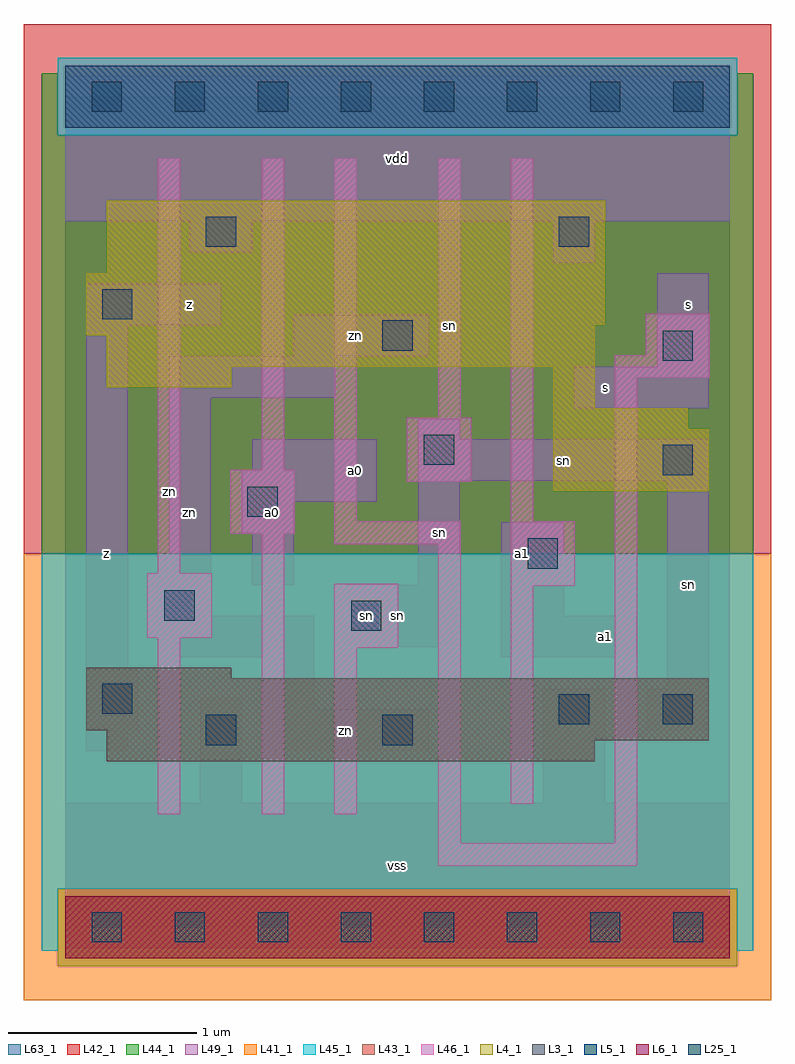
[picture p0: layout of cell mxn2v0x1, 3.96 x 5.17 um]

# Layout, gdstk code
import gdstk
lib = gdstk.Library(unit=1e-6, precision=1e-09)
def R(c, l, rs):  # rectangles x0, y0, x1, y1
    for r in rs: c.add(gdstk.rectangle(r[:2], r[2:], *l))
def A(c, l, x, y, w, h, nx, ny, dx, dy):  # array of equal rectangles
    R(c, l, [(x+i*dx, y+j*dy, x+i*dx+w, y+j*dy+h) for i in range(nx) for j in range(ny)])
L3_1 = (3, 1)
L4_1 = (4, 1)
L5_1 = (5, 1)
L6_1 = (6, 1)
L25_1 = (25, 1)
L41_1 = (41, 1)
L42_1 = (42, 1)
L43_1 = (43, 1)
L44_1 = (44, 1)
L45_1 = (45, 1)
L46_1 = (46, 1)
L49_1 = (49, 1)
L63_1 = (63, 1)

mxn2v0x1 = lib.new_cell('mxn2v0x1')
R(mxn2v0x1, L3_1, [(0.22,0.88,2.805,0.99), (0.22,0.99,3.41,1.045), (0.11,1.045,3.41,1.32), (0.11,1.32,0.88,1.375)])
R(mxn2v0x1, L4_1, [(2.585,2.31,3.41,2.64), (2.585,2.64,3.3,2.75), (2.585,2.75,2.805,2.97), (0.22,2.86,0.88,2.97), (0.22,2.97,2.805,3.135), (0.11,3.135,2.805,3.19), (0.11,3.19,2.86,3.465), (0.22,3.465,2.86,3.85)])
R(mxn2v0x1, L5_1, [(0,4.235,3.52,4.565)])
R(mxn2v0x1, L6_1, [(0,-0.165,3.52,0.165)])
A(mxn2v0x1, L25_1, 0.14, -0.08, 0.16, 0.16, 8, 2, 0.44, 4.4)
R(mxn2v0x1, L25_1, [(0.745,0.965,0.905,1.125), (1.68,0.965,1.84,1.125), (2.615,1.075,2.775,1.235), (3.165,1.075,3.325,1.235), (0.195,1.13,0.355,1.29), (1.515,1.57,1.675,1.73), (0.525,1.625,0.685,1.785), (2.45,1.9,2.61,2.06), (0.965,2.175,1.125,2.335), (3.165,2.395,3.325,2.555), (1.9,2.45,2.06,2.61), (3.165,3,3.325,3.16), (1.68,3.055,1.84,3.215), (0.195,3.22,0.355,3.38), (0.745,3.605,0.905,3.765), (2.615,3.605,2.775,3.765)])
R(mxn2v0x1, L41_1, [(-0.22,-0.385,3.74,1.98)])
R(mxn2v0x1, L42_1, [(-0.22,1.98,3.74,4.785)])
R(mxn2v0x1, L43_1, [(0,-0.165,3.52,0.165), (0.22,0.88,2.805,0.99), (0.22,0.99,3.41,1.045), (0.11,1.045,3.41,1.32), (0.11,1.32,0.88,1.375), (2.585,2.31,3.41,2.64), (2.585,2.64,3.3,2.75), (2.585,2.75,2.805,2.97), (0.22,2.86,0.88,2.97), (0.22,2.97,2.805,3.135), (0.11,3.135,2.805,3.19), (0.11,3.19,2.86,3.465), (0.22,3.465,2.86,3.85), (0,4.235,3.52,4.565)])
R(mxn2v0x1, L44_1, [(-0.04,-0.205,3.56,0.205), (-0.125,1.98,3.645,4.195), (-0.125,4.195,-0.04,4.525), (3.56,4.195,3.645,4.525)])
R(mxn2v0x1, L45_1, [(-0.125,-0.125,-0.04,0.205), (3.56,-0.125,3.645,0.205), (-0.125,0.205,3.645,1.98), (-0.04,4.195,3.56,4.605)])
R(mxn2v0x1, L46_1, [(1.975,0.325,3.03,0.445), (1.975,0.445,2.095,2.03), (2.91,0.445,3.03,2.91), (0.49,0.6,0.61,1.535), (1.04,0.6,1.16,2.085), (1.425,0.6,1.545,1.48), (2.36,0.655,2.48,1.81), (1.425,1.48,1.765,1.82), (0.435,1.535,0.775,1.875), (2.36,1.81,2.7,2.15), (0.49,1.875,0.61,4.075), (1.425,2.03,2.095,2.15), (0.875,2.085,1.215,2.425), (1.425,2.15,1.545,4.075), (2.36,2.15,2.48,4.075), (1.81,2.36,2.15,2.7), (1.04,2.425,1.16,4.075), (1.975,2.7,2.095,4.075), (2.91,2.91,3.415,3.03), (3.075,3.03,3.415,3.25)])
R(mxn2v0x1, L49_1, [(0,-0.11,3.52,0.66), (0.715,0.66,0.935,1.21), (2.53,0.66,2.86,1.265), (0.11,0.935,0.33,1.045), (1.1,0.935,1.925,1.155), (0.11,1.045,0.385,1.375), (3.08,1.045,3.41,1.265), (1.1,1.155,1.32,1.43), (3.19,1.265,3.41,2.365), (0.11,1.375,0.33,3.19), (0.55,1.43,1.32,1.54), (2.31,1.43,3.025,1.65), (1.485,1.485,2.09,1.815), (0.495,1.54,1.32,1.65), (0.495,1.65,0.77,1.87), (2.31,1.65,2.64,2.145), (0.99,1.815,1.21,2.09), (1.87,1.815,2.09,2.365), (0.55,1.87,0.77,2.805), (0.935,2.09,1.21,2.255), (0.935,2.255,1.65,2.42), (1.87,2.365,3.41,2.585), (0.99,2.42,1.65,2.585), (1.87,2.585,2.09,2.695), (2.695,2.75,3.41,2.97), (0.55,2.805,1.43,3.025), (3.135,2.97,3.41,3.465), (1.21,3.025,1.925,3.245), (0.11,3.19,0.825,3.41), (2.585,3.52,2.805,3.74), (0.66,3.575,0.99,3.74), (0,3.74,3.52,4.51)])
R(mxn2v0x1, L63_1, [(0,0,3.52,4.4)])
mxn2v0x1.add(gdstk.Label('zn', (0.55,2.31), layer=46, texttype=1))
mxn2v0x1.add(gdstk.Label('sn', (1.595,1.65), layer=49, texttype=1))
mxn2v0x1.add(gdstk.Label('sn', (2.035,3.19), layer=46, texttype=1))
mxn2v0x1.add(gdstk.Label('z', (0.22,1.98), layer=49, texttype=1))
mxn2v0x1.add(gdstk.Label('a0', (1.1,2.2), layer=49, texttype=1))
mxn2v0x1.add(gdstk.Label('zn', (0.66,2.2), layer=49, texttype=1))
mxn2v0x1.add(gdstk.Label('z', (0.66,3.3), layer=49, texttype=1))
mxn2v0x1.add(gdstk.Label('vss', (1.76,0.33), layer=49, texttype=1))
mxn2v0x1.add(gdstk.Label('zn', (1.485,1.045), layer=49, texttype=1))
mxn2v0x1.add(gdstk.Label('sn', (1.76,1.65), layer=49, texttype=1))
mxn2v0x1.add(gdstk.Label('a0', (1.54,2.42), layer=49, texttype=1))
mxn2v0x1.add(gdstk.Label('sn', (1.98,2.09), layer=49, texttype=1))
mxn2v0x1.add(gdstk.Label('zn', (1.54,3.135), layer=49, texttype=1))
mxn2v0x1.add(gdstk.Label('vdd', (1.76,4.07), layer=49, texttype=1))
mxn2v0x1.add(gdstk.Label('a1', (2.42,1.98), layer=49, texttype=1))
mxn2v0x1.add(gdstk.Label('a1', (2.86,1.54), layer=49, texttype=1))
mxn2v0x1.add(gdstk.Label('sn', (3.3,1.815), layer=49, texttype=1))
mxn2v0x1.add(gdstk.Label('sn', (2.64,2.475), layer=49, texttype=1))
mxn2v0x1.add(gdstk.Label('s', (2.86,2.86), layer=49, texttype=1))
mxn2v0x1.add(gdstk.Label('s', (3.3,3.3), layer=49, texttype=1))

lib.write_gds('mxn2v0x1.gds')
